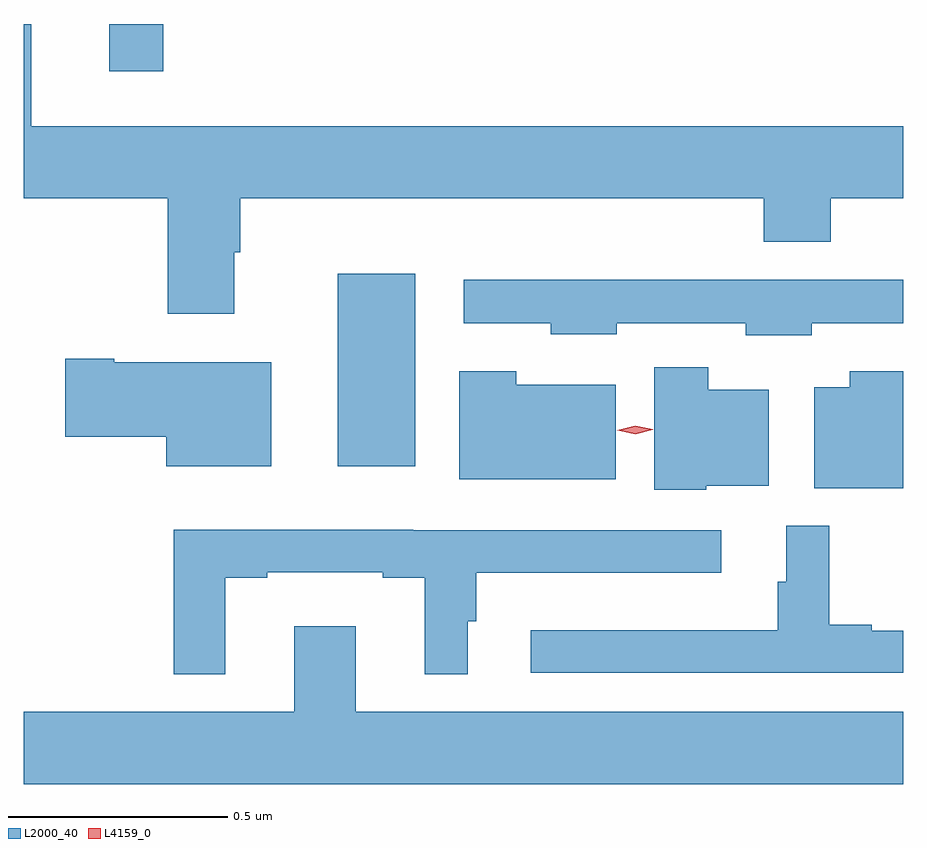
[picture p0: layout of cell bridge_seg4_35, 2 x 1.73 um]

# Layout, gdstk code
import gdstk
lib = gdstk.Library(unit=1e-6, precision=1e-09)
def R(c, l, rs):  # rectangles x0, y0, x1, y1
    for r in rs: c.add(gdstk.rectangle(r[:2], r[2:], *l))
def P(c, l, *ps):  # polygons
    for p in ps: c.add(gdstk.Polygon(p, *l))
L2000_40 = (2000, 40)
L4159_0 = (4159, 0)

bridge_seg4_35 = lib.new_cell('bridge_seg4_35')
R(bridge_seg4_35, L2000_40, [(688.118,760.247,688.294,760.684), (687.599,761.145,687.721,761.252)])
P(bridge_seg4_35, L2000_40, [(687.883,760.733),(687.896,760.733),(687.896,760.856),(689.087,760.856),(689.087,760.757),(689.239,760.757),(689.239,760.856),(689.404,760.856),(689.404,761.02),(687.421,761.02),(687.421,761.252),(687.404,761.252),(687.404,760.856),(687.731,760.856),(687.731,760.593),(687.883,760.593)],
  [(689.196,760.572),(689.404,760.572),(689.404,760.67),(688.404,760.67),(688.404,760.572),(688.602,760.572),(688.602,760.547),(688.752,760.547),(688.752,760.572),(689.046,760.572),(689.046,760.544),(689.196,760.544)],
  [(687.967,760.483),(687.61,760.483),(687.61,760.491),(687.498,760.491),(687.498,760.313),(687.728,760.313),(687.728,760.247),(687.967,760.247)],
  [(688.956,760.202),(689.098,760.202),(689.098,760.42),(688.96,760.42),(688.96,760.471),(688.838,760.471),(688.838,760.193),(688.956,760.193)],
  [(689.404,760.462),(689.282,760.462),(689.282,760.426),(689.201,760.426),(689.201,760.196),(689.404,760.196)],
  [(688.75,760.432),(688.524,760.432),(688.524,760.462),(688.394,760.462),(688.394,760.217),(688.75,760.217)],
  [(689.404,759.873),(689.332,759.873),(689.332,759.886),(689.236,759.886),(689.236,760.111),(689.138,760.111),(689.138,759.984),(689.119,759.984),(689.119,759.874),(688.557,759.874),(688.557,759.777),(689.404,759.777)],
  [(687.862,759.993),(687.958,759.993),(687.958,760.005),(688.22,760.005),(688.22,759.993),(688.316,759.993),(688.316,759.773),(688.414,759.773),(688.414,759.894),(688.433,759.894),(688.433,760.004),(688.99,760.004),(688.99,760.101),(688.29,760.101),(688.29,760.102),(687.745,760.102),(687.745,759.773),(687.862,759.773)],
  [(689.404,759.688),(688.159,759.688),(688.159,759.883),(688.019,759.883),(688.019,759.688),(687.404,759.688),(687.404,759.524),(689.404,759.524)])
P(bridge_seg4_35, L4159_0, [(688.794,760.319),(688.754,760.328),(688.754,760.328),(688.754,760.328),(688.794,760.339),(688.834,760.331),(688.834,760.33),(688.834,760.33)])

lib.write_gds('bridge_seg4_35.gds')
